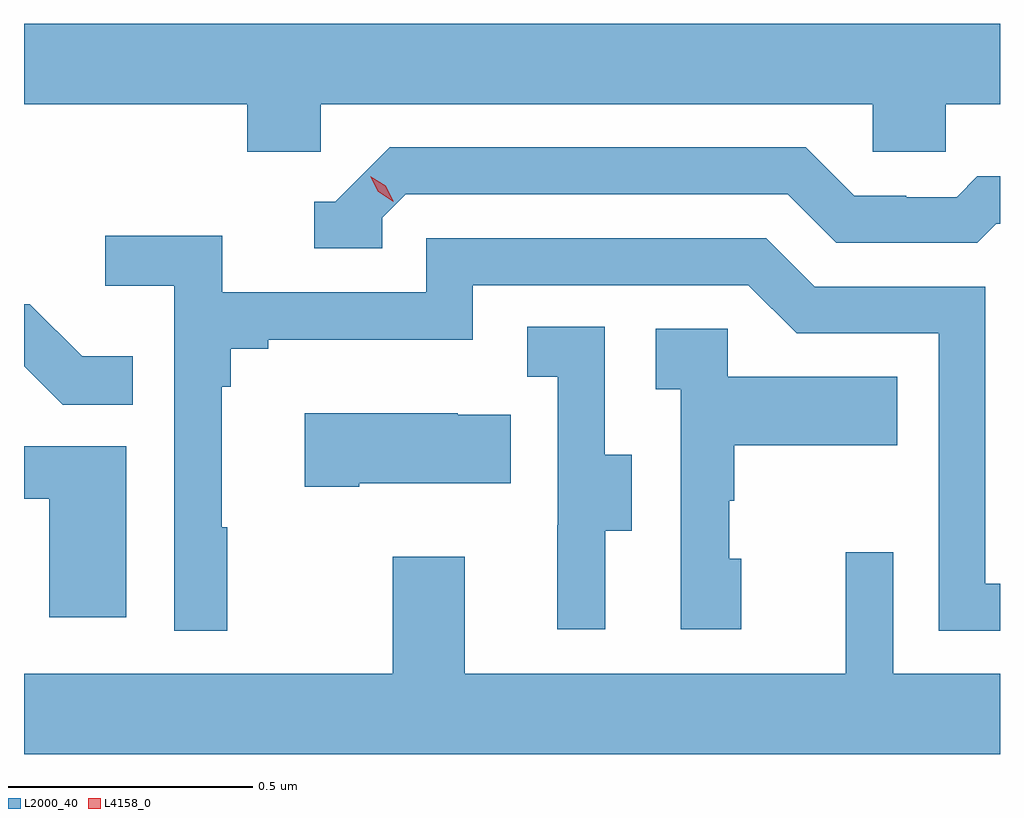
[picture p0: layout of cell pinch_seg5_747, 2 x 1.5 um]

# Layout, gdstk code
import gdstk
lib = gdstk.Library(unit=1e-6, precision=1e-09)
def P(c, l, *ps):  # polygons
    for p in ps: c.add(gdstk.Polygon(p, *l))
L2000_40 = (2000, 40)
L4158_0 = (4158, 0)

pinch_seg5_747 = lib.new_cell('pinch_seg5_747')
P(pinch_seg5_747, L2000_40, [(863.202,908.708),(864.333,908.708),(864.333,908.61),(864.483,908.61),(864.483,908.708),(864.594,908.708),(864.594,908.872),(862.594,908.872),(862.594,908.708),(863.051,908.708),(863.051,908.61),(863.202,908.61)],
  [(863.328,908.475),(863.376,908.523),(864.159,908.523),(864.258,908.424),(864.547,908.424),(864.586,908.463),(864.594,908.463),(864.594,908.56),(864.547,908.56),(864.505,908.517),(864.402,908.517),(864.402,908.52),(864.295,908.52),(864.196,908.619),(863.343,908.619),(863.232,908.508),(863.189,908.508),(863.189,908.412),(863.328,908.412)],
  [(863.011,907.841),(862.999,907.841),(862.999,908.129),(863.018,908.129),(863.018,908.206),(863.095,908.206),(863.095,908.225),(863.514,908.225),(863.514,908.337),(864.078,908.337),(864.177,908.238),(864.468,908.238),(864.468,907.629),(864.594,907.629),(864.594,907.725),(864.564,907.725),(864.564,908.334),(864.214,908.334),(864.115,908.433),(863.418,908.433),(863.418,908.322),(863,908.322),(863,908.438),(862.761,908.438),(862.761,908.336),(862.902,908.336),(862.902,907.629),(863.011,907.629)],
  [(862.817,908.191),(862.713,908.191),(862.606,908.298),(862.594,908.298),(862.594,908.171),(862.673,908.092),(862.817,908.092)],
  [(863.785,907.834),(863.839,907.834),(863.839,907.989),(863.784,907.989),(863.784,908.252),(863.625,908.252),(863.625,908.149),(863.688,908.149),(863.688,907.845),(863.687,907.845),(863.687,907.632),(863.785,907.632)],
  [(864.064,907.776),(864.039,907.776),(864.039,907.895),(864.049,907.895),(864.049,908.009),(864.383,908.009),(864.383,908.149),(864.036,908.149),(864.036,908.247),(863.889,908.247),(863.889,908.123),(863.94,908.123),(863.94,907.632),(864.064,907.632)],
  [(863.281,907.931),(863.591,907.931),(863.591,908.071),(863.483,908.071),(863.483,908.074),(863.169,908.074),(863.169,907.924),(863.281,907.924)],
  [(862.804,908.007),(862.594,908.007),(862.594,907.899),(862.646,907.899),(862.646,907.656),(862.804,907.656)],
  [(864.594,907.54),(864.375,907.54),(864.375,907.789),(864.278,907.789),(864.278,907.54),(863.497,907.54),(863.497,907.78),(863.35,907.78),(863.35,907.54),(862.594,907.54),(862.594,907.376),(864.594,907.376)])
P(pinch_seg5_747, L4158_0, [(863.351,908.508),(863.32,908.528),(863.304,908.56),(863.304,908.56),(863.304,908.56),(863.335,908.541),(863.351,908.509),(863.351,908.508)])

lib.write_gds('pinch_seg5_747.gds')
